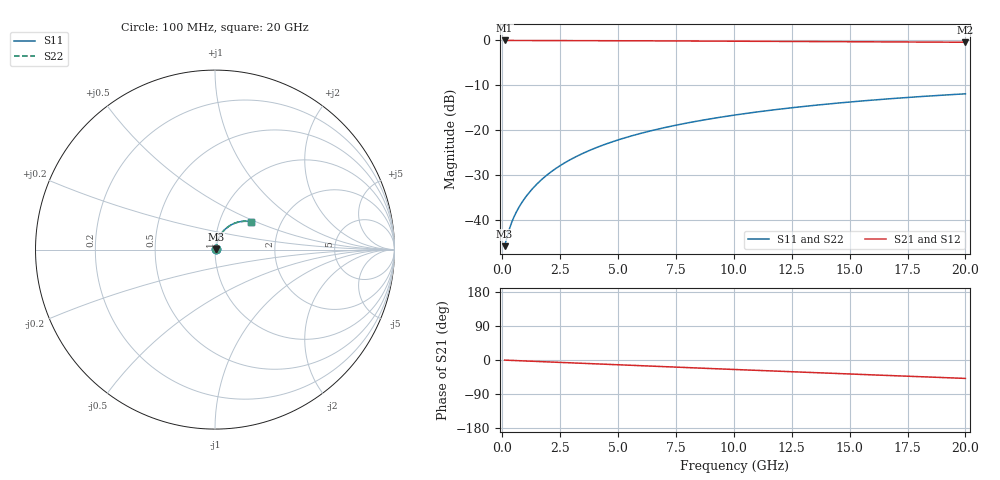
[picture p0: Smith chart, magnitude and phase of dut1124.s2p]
! Touchstone file exported from HFSS 2026.1.0
!  File:  C:/ffzhzh/LocalFiles/Ansys_Project_Files/temp_train_TMRDL_1124_1783161675_43440.aedt
!  Generated:  06:42:23 PM Jul  4, 2026
!  Design:  TMRDL
!  Project:  temp_train_TMRDL_1124_1783161675_43440
! Variables:
!  h_bsmrdl = 2um
!  h_ox = 20um
!  h_rdl = 5um
!  h_sub = 80um
!  h_tmrdl = 3.02um
!  h_tsv = 80um
!  h_via = 3um
!  l_bsmrdl = 300um
!  l_sub = 1221.09um
!  l_tmrdl = 821.09um
!  m_sub = 200um
!  pitch = 32.67um
!  r_tsv = 6um
!  s_tmrdl = 10um
!  w_bsmrdl = 18um
!  w_sub = 500um
!  w_tmrdl = 21.99um
!  x_tsv_center1 = 832.085um
!  x_tsv_center2 = 1150.085um
!  x_tsv_center3 = 1993.165um
!  x_tsv_center4 = 2311.165um
!  x_tsv_center5 = 3154.245um
!  x_tsv_center6 = 3472.245um
# GHz S MA R 50.000000
! Terminal data exported
! Port[1] = TM_RDL1_1_T1
! Port[2] = TM_RDL1_1_T2
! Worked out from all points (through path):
!   200 points, 100 MHz to 20 GHz, reference 50 ohm
!   highest |S21| = -0.04 dB at 100 MHz (marker M1); lowest = -0.4 dB at 20 GHz (marker M2)
!   group delay of S21, straight-line fit = 6.74 ps
!   lowest |S11| = -45.9 dB at 100 MHz (marker M3), VSWR 1.01, Z = 50.5 + j0.205 ohm
!   |S11| at or under -10 dB: start of sweep to end of sweep
!   |S22| runs from -45.9 to -11.9 dB; largest |S21 - S12| = 4.1e-15
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0.1  0.005042 23.7  0.9954 -0.3  0.9954 -0.3  0.005042 23.7
! Gamma 0 0 0 0
! Port Impedance 50 0 50 0
0.3  0.007748 46.9  0.9948 -0.8  0.9948 -0.8  0.007748 46.9
0.4  0.009204 52.1  0.9945 -1.1  0.9945 -1.1  0.009204 52.1
0.5  0.01063 55.8  0.9942 -1.3  0.9942 -1.3  0.01063 55.8
0.6  0.01203 58.7  0.994 -1.6  0.994 -1.6  0.01203 58.7
0.8  0.01483 63.0  0.9937 -2.1  0.9937 -2.1  0.01483 63.0
1  0.01767 66.1  0.9935 -2.6  0.9935 -2.6  0.01767 66.1
1.2  0.02056 68.3  0.9933 -3.1  0.9933 -3.1  0.02056 68.3
1.4  0.02349 69.9  0.9931 -3.6  0.9931 -3.6  0.02349 69.9
1.7  0.02794 71.5  0.9929 -4.4  0.9929 -4.4  0.02794 71.5
2.2  0.03544 72.9  0.9924 -5.6  0.9924 -5.6  0.03544 72.9
2.8  0.04449 73.4  0.9917 -7.1  0.9917 -7.1  0.04449 73.4
3.5  0.05503 73.1  0.9908 -8.9  0.9908 -8.9  0.05503 73.1
4.2  0.06549 72.2  0.9898 -10.7  0.9898 -10.7  0.06549 72.2
5  0.07729 70.9  0.9884 -12.7  0.9884 -12.7  0.0773 70.9
5.9  0.09034 69.2  0.9866 -14.9  0.9866 -14.9  0.09034 69.2
6.8  0.1031 67.3  0.9847 -17.1  0.9847 -17.1  0.1031 67.3
8.3  0.1237 64.1  0.9812 -20.8  0.9812 -20.8  0.1237 64.0
10.1  0.1473 60.0  0.9767 -25.2  0.9767 -25.2  0.1473 60.0
13.4  0.187 52.6  0.9679 -33.1  0.9679 -33.1  0.187 52.5
16.7  0.2223 45.2  0.9591 -40.9  0.9591 -40.9  0.2223 45.1
20  0.2527 37.9  0.9506 -48.6  0.9506 -48.6  0.2527 37.8
